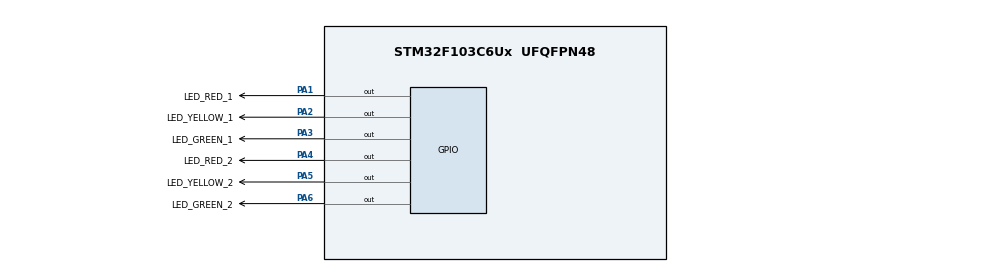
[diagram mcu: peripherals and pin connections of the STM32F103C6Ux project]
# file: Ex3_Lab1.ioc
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Mcu.Family=STM32F1
Mcu.Name=STM32F103C6Ux
Mcu.Package=UFQFPN48
NVIC.PriorityGroup=NVIC_PRIORITYGROUP_4
PA1.GPIO_Label=LED_RED_1
PA1.Signal=GPIO_Output
PA2.GPIO_Label=LED_YELLOW_1
PA2.Signal=GPIO_Output
PA3.GPIO_Label=LED_GREEN_1
PA3.Signal=GPIO_Output
PA4.GPIO_Label=LED_RED_2
PA4.Signal=GPIO_Output
PA5.GPIO_Label=LED_YELLOW_2
PA5.Signal=GPIO_Output
PA6.GPIO_Label=LED_GREEN_2
PA6.Signal=GPIO_Output
ProjectManager.HeapSize=0x200
ProjectManager.StackSize=0x400
ProjectManager.TargetToolchain=STM32CubeIDE
RCC.APB1Freq_Value=8000000
RCC.APB2Freq_Value=8000000
VP_SYS_VS_ND.Mode=No_Debug
board=custom

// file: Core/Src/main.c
/* USER CODE BEGIN Header */
/**
 ******************************************************************************
 * @file           : main.c
 * @brief          : Main program body
 ******************************************************************************
 * @attention
 *
 * <h2><center>&copy; Copyright (c) 2025 STMicroelectronics.
 * All rights reserved.</center></h2>
 *
 * This software component is licensed by ST under BSD 3-Clause license,
 * the "License"; You may not use this file except in compliance with the
 * License. You may obtain a copy of the License at:
 *                        opensource.org/licenses/BSD-3-Clause
 *
 ******************************************************************************
 */
/* USER CODE END Header */
#include "main.h"

void SystemClock_Config(void);
static void MX_GPIO_Init(void);

int main(void) {

	/* MCU Configuration--------------------------------------------------------*/

	/* Reset of all peripherals, Initializes the Flash interface and the Systick. */
	HAL_Init();

	/* Configure the system clock */
	SystemClock_Config();

	/* Initialize all configured peripherals */
	MX_GPIO_Init();

	/* Infinite loop */
	/* USER CODE BEGIN WHILE */
	int second_counter = 0;
	while (1) {
		// Code for LED_1
		if (second_counter < 5) {
			// STATE 1: RED LIGHT for 5 seconds (counter from 0 to 4)
			HAL_GPIO_WritePin(LED_RED_1_GPIO_Port, LED_RED_1_Pin, GPIO_PIN_SET);
			HAL_GPIO_WritePin(LED_GREEN_1_GPIO_Port, LED_GREEN_1_Pin,
					GPIO_PIN_RESET);
			HAL_GPIO_WritePin(LED_YELLOW_1_GPIO_Port, LED_YELLOW_1_Pin,
					GPIO_PIN_RESET);
		} else if (second_counter < 8) {
			// STATE 2: GREEN LIGHT for 3 seconds (counter from 5 to 7)
			HAL_GPIO_WritePin(LED_RED_1_GPIO_Port, LED_RED_1_Pin,
					GPIO_PIN_RESET);
			HAL_GPIO_WritePin(LED_GREEN_1_GPIO_Port, LED_GREEN_1_Pin,
					GPIO_PIN_SET);
			HAL_GPIO_WritePin(LED_YELLOW_1_GPIO_Port, LED_YELLOW_1_Pin,
					GPIO_PIN_RESET);
		} else {
			// STATE 3: YELLOW LIGHT for 2 seconds (counter from 8 to 9)
			HAL_GPIO_WritePin(LED_RED_1_GPIO_Port, LED_RED_1_Pin,
					GPIO_PIN_RESET);
			HAL_GPIO_WritePin(LED_GREEN_1_GPIO_Port, LED_GREEN_1_Pin,
					GPIO_PIN_RESET);
			HAL_GPIO_WritePin(LED_YELLOW_1_GPIO_Port, LED_YELLOW_1_Pin,
					GPIO_PIN_SET);
		}
		// Code for LED_2
		if (second_counter < 3) {
			// STATE 1: GREEN LIGHT for 3 seconds (counter from 0 to 2)
			HAL_GPIO_WritePin(LED_RED_2_GPIO_Port, LED_RED_2_Pin,
					GPIO_PIN_RESET);
			HAL_GPIO_WritePin(LED_GREEN_2_GPIO_Port, LED_GREEN_2_Pin,
					GPIO_PIN_SET);
			HAL_GPIO_WritePin(LED_YELLOW_2_GPIO_Port, LED_YELLOW_2_Pin,
					GPIO_PIN_RESET);
		} else if (second_counter < 5) {
			// STATE 2: YELLOW LIGHT for 2 seconds (counter from 3 to 4)
			HAL_GPIO_WritePin(LED_RED_2_GPIO_Port, LED_RED_2_Pin,
					GPIO_PIN_RESET);
			HAL_GPIO_WritePin(LED_GREEN_2_GPIO_Port, LED_GREEN_2_Pin,
					GPIO_PIN_RESET);
			HAL_GPIO_WritePin(LED_YELLOW_2_GPIO_Port, LED_YELLOW_2_Pin,
					GPIO_PIN_SET);
		} else {
			// STATE 3: RED LIGHT for 5 seconds (counter from 5 to 9)
			HAL_GPIO_WritePin(LED_RED_2_GPIO_Port, LED_RED_2_Pin, GPIO_PIN_SET);
			HAL_GPIO_WritePin(LED_GREEN_2_GPIO_Port, LED_GREEN_2_Pin,
					GPIO_PIN_RESET);
			HAL_GPIO_WritePin(LED_YELLOW_2_GPIO_Port, LED_YELLOW_2_Pin,
					GPIO_PIN_RESET);
		}
		// Increment the counter every second.
		second_counter++;

		// If the counter reaches the end of the cycle (10 seconds), reset it.
		if (second_counter >= 10) {
			second_counter = 0;
		}

		// Wait for 1 second before the next loop iteration.
		HAL_Delay(1000);
		/* USER CODE END WHILE */

	}
}

void SystemClock_Config(void) {
	RCC_OscInitTypeDef RCC_OscInitStruct = { 0 };
	RCC_ClkInitTypeDef RCC_ClkInitStruct = { 0 };

	/** Initializes the RCC Oscillators according to the specified parameters
	 * in the RCC_OscInitTypeDef structure.
	 */
	RCC_OscInitStruct.OscillatorType = RCC_OSCILLATORTYPE_HSI;
	RCC_OscInitStruct.HSIState = RCC_HSI_ON;
	RCC_OscInitStruct.HSICalibrationValue = RCC_HSICALIBRATION_DEFAULT;
	RCC_OscInitStruct.PLL.PLLState = RCC_PLL_NONE;
	if (HAL_RCC_OscConfig(&RCC_OscInitStruct) != HAL_OK) {
		Error_Handler();
	}
	/** Initializes the CPU, AHB and APB buses clocks
	 */
	RCC_ClkInitStruct.ClockType = RCC_CLOCKTYPE_HCLK | RCC_CLOCKTYPE_SYSCLK
			| RCC_CLOCKTYPE_PCLK1 | RCC_CLOCKTYPE_PCLK2;
	RCC_ClkInitStruct.SYSCLKSource = RCC_SYSCLKSOURCE_HSI;
	RCC_ClkInitStruct.AHBCLKDivider = RCC_SYSCLK_DIV1;
	RCC_ClkInitStruct.APB1CLKDivider = RCC_HCLK_DIV1;
	RCC_ClkInitStruct.APB2CLKDivider = RCC_HCLK_DIV1;

	if (HAL_RCC_ClockConfig(&RCC_ClkInitStruct, FLASH_LATENCY_0) != HAL_OK) {
		Error_Handler();
	}
}

static void MX_GPIO_Init(void) {
	GPIO_InitTypeDef GPIO_InitStruct = { 0 };

	/* GPIO Ports Clock Enable */
	__HAL_RCC_GPIOA_CLK_ENABLE();

	/*Configure GPIO pin Output Level */
	HAL_GPIO_WritePin(GPIOA,
			LED_RED_1_Pin | LED_YELLOW_1_Pin | LED_GREEN_1_Pin | LED_RED_2_Pin
					| LED_YELLOW_2_Pin | LED_GREEN_2_Pin, GPIO_PIN_RESET);

	/*Configure GPIO pins : LED_RED_1_Pin LED_YELLOW_1_Pin LED_GREEN_1_Pin LED_RED_2_Pin
	 LED_YELLOW_2_Pin LED_GREEN_2_Pin */
	GPIO_InitStruct.Pin = LED_RED_1_Pin | LED_YELLOW_1_Pin | LED_GREEN_1_Pin
			| LED_RED_2_Pin | LED_YELLOW_2_Pin | LED_GREEN_2_Pin;
	GPIO_InitStruct.Mode = GPIO_MODE_OUTPUT_PP;
	GPIO_InitStruct.Pull = GPIO_NOPULL;
	GPIO_InitStruct.Speed = GPIO_SPEED_FREQ_LOW;
	HAL_GPIO_Init(GPIOA, &GPIO_InitStruct);

}

void Error_Handler(void) {
	__disable_irq();
	while (1) {
	}
}

/************************ (C) COPYRIGHT STMicroelectronics *****END OF FILE****/
